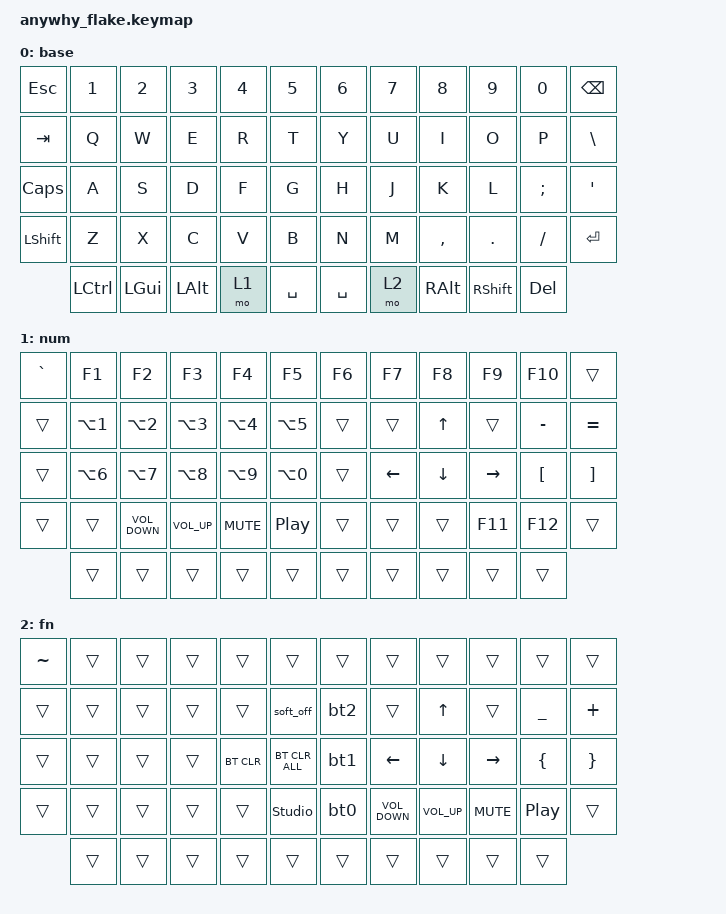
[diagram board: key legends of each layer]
#include <behaviors.dtsi>
#include <dt-bindings/zmk/bt.h>
#include <dt-bindings/zmk/keys.h>

/ {
    combos {
        compatible = "zmk,combos";

        bt_sel_3 {
            bindings = <&bt3>;
            key-positions = <42 30>;
            layers = <2>;
        };

        bt_sel_4 {
            bindings = <&bt4>;
            key-positions = <30 18>;
            layers = <2>;
        };

        enter_gaming {
            bindings = <&sl 0>;
            key-positions = <26 15 28>;
            layers = <2>;
        };

        leave_gaming {
            bindings = <&sl 0>;
            key-positions = <31 20 33>;
        };

        grave {
            bindings = <&kp GRAVE>;
            key-positions = <13 25>;
        };
    };

    macros {
        bt_clr_0: bt_clr_0 {
            compatible = "zmk,behavior-macro";
            #binding-cells = <0>;
            bindings = <&bt BT_SEL 0 &bt BT_CLR>;
            label = "BT_CLR_0";
        };

        bt_clr_1: bt_clr_1 {
            compatible = "zmk,behavior-macro";
            #binding-cells = <0>;
            bindings = <&bt BT_SEL 1 &bt BT_CLR>;
            label = "BT_CLR_1";
        };

        bt_clr_2: bt_clr_2 {
            compatible = "zmk,behavior-macro";
            #binding-cells = <0>;
            bindings = <&bt BT_SEL 2 &bt BT_CLR>;
            label = "BT_CLR_2";
        };

        bt_clr_3: bt_clr_3 {
            compatible = "zmk,behavior-macro";
            #binding-cells = <0>;
            bindings = <&bt BT_SEL 3 &bt BT_CLR>;
            label = "BT_CLR_3";
        };

        bt_clr_4: bt_clr_4 {
            compatible = "zmk,behavior-macro";
            #binding-cells = <0>;
            bindings = <&bt BT_SEL 4 &bt BT_CLR>;
            label = "BT_CLR_4";
        };
    };

    behaviors {
        bt0: bt0 {
            compatible = "zmk,behavior-mod-morph";
            label = "BT0";
            bindings = <&bt BT_SEL 0>, <&bt_clr_0>;

            #binding-cells = <0>;
            mods = <(MOD_LSFT|MOD_RSFT)>;
        };

        bt1: bt1 {
            compatible = "zmk,behavior-mod-morph";
            label = "BT1";
            bindings = <&bt BT_SEL 1>, <&bt_clr_1>;

            #binding-cells = <0>;
            mods = <(MOD_LSFT|MOD_RSFT)>;
        };

        bt2: bt2 {
            compatible = "zmk,behavior-mod-morph";
            label = "BT2";
            bindings = <&bt BT_SEL 2>, <&bt_clr_2>;

            #binding-cells = <0>;
            mods = <(MOD_LSFT|MOD_RSFT)>;
        };

        bt3: bt3 {
            compatible = "zmk,behavior-mod-morph";
            label = "BT3";
            bindings = <&bt BT_SEL 3>, <&bt_clr_3>;

            #binding-cells = <0>;
            mods = <(MOD_LSFT|MOD_RSFT)>;
        };

        bt4: bt4 {
            compatible = "zmk,behavior-mod-morph";
            label = "BT4";
            bindings = <&bt BT_SEL 4>, <&bt_clr_4>;

            #binding-cells = <0>;
            mods = <(MOD_LSFT|MOD_RSFT)>;
        };
    };

    keymap {
        compatible = "zmk,keymap";

        base {
            bindings = <
&kp ESC    &kp N1     &kp N2    &kp N3    &kp N4  &kp N5       &kp N6     &kp N7  &kp N8     &kp N9     &kp N0    &kp BSPC
&kp TAB    &kp Q      &kp W     &kp E     &kp R   &kp T        &kp Y      &kp U   &kp I      &kp O      &kp P     &kp BSLH
&kp CAPS   &kp A      &kp S     &kp D     &kp F   &kp G        &kp H      &kp J   &kp K      &kp L      &kp SEMI  &kp APOS
&kp LSHFT  &kp Z      &kp X     &kp C     &kp V   &kp B        &kp N      &kp M   &kp COMMA  &kp DOT    &kp FSLH  &kp ENTER
           &kp LCTRL  &kp LGUI  &kp LALT  &mo 1   &kp SPACE    &kp SPACE  &mo 2   &kp RALT   &kp RSHFT  &kp DEL
            >;
        };

        num {
            bindings = <
&kp GRAVE  &kp F1      &kp F2             &kp F3           &kp F4      &kp F5              &kp F6  &kp F7    &kp F8    &kp F9     &kp F10    &trans
&trans     &kp LA(N1)  &kp LA(N2)         &kp LA(N3)       &kp LA(N4)  &kp LA(N5)          &trans  &trans    &kp UP    &trans     &kp MINUS  &kp EQUAL
&trans     &kp LA(N6)  &kp LA(N7)         &kp LA(N8)       &kp LA(N9)  &kp LA(N0)          &trans  &kp LEFT  &kp DOWN  &kp RIGHT  &kp LBKT   &kp RBKT
&trans     &trans      &kp C_VOLUME_DOWN  &kp C_VOLUME_UP  &kp K_MUTE  &kp C_PLAY_PAUSE    &trans  &trans    &trans    &kp F11    &kp F12    &trans
           &trans      &trans             &trans           &trans      &trans              &trans  &trans    &trans    &trans     &trans
            >;
        };

        fn {
            bindings = <
&kp TILDE  &trans  &trans  &trans  &trans      &trans            &trans  &trans             &trans           &trans      &trans            &trans
&trans     &trans  &trans  &trans  &trans      &soft_off         &bt2    &trans             &kp UP           &trans      &kp UNDER         &kp PLUS
&trans     &trans  &trans  &trans  &bt BT_CLR  &bt BT_CLR_ALL    &bt1    &kp LEFT           &kp DOWN         &kp RIGHT   &kp LBRC          &kp RBRC
&trans     &trans  &trans  &trans  &trans      &studio_unlock    &bt0    &kp C_VOLUME_DOWN  &kp C_VOLUME_UP  &kp K_MUTE  &kp C_PLAY_PAUSE  &trans
           &trans  &trans  &trans  &trans      &trans            &trans  &trans             &trans           &trans      &trans
            >;
        };
    };
};
